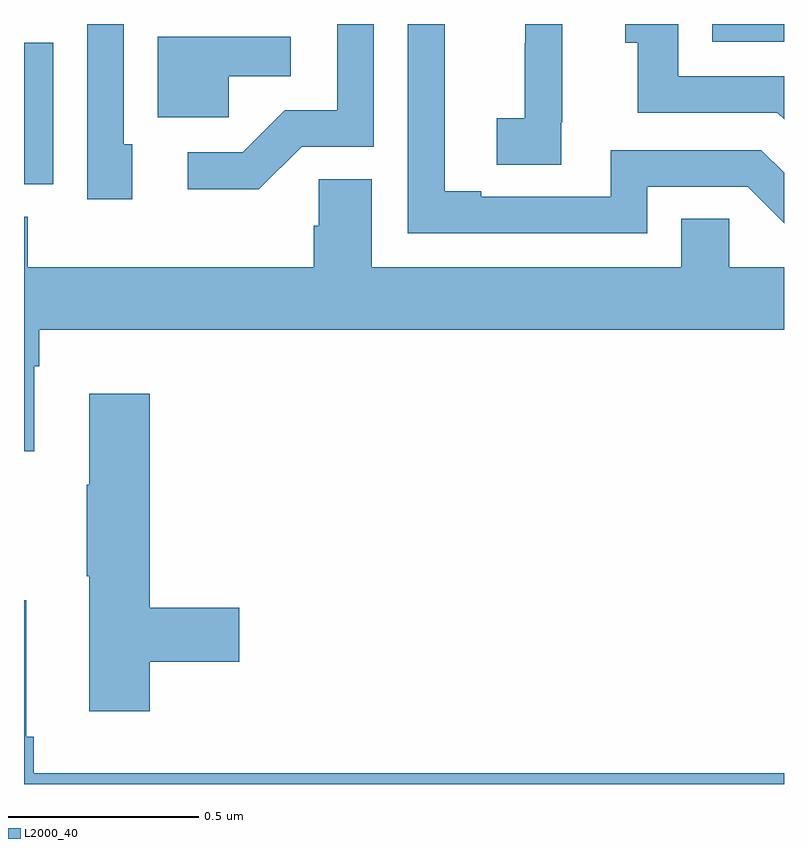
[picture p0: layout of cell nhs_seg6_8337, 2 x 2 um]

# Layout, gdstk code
import gdstk
lib = gdstk.Library(unit=1e-6, precision=1e-09)
def R(c, l, rs):  # rectangles x0, y0, x1, y1
    for r in rs: c.add(gdstk.rectangle(r[:2], r[2:], *l))
def P(c, l, *ps):  # polygons
    for p in ps: c.add(gdstk.Polygon(p, *l))
L2000_40 = (2000, 40)

nhs_seg6_8337 = lib.new_cell('nhs_seg6_8337')
R(nhs_seg6_8337, L2000_40, [(220,921.078,220.077,921.451), (221.811,921.453,222,921.5)])
P(nhs_seg6_8337, L2000_40, [(220.731,921.177),(220.92,921.177),(220.92,921.5),(220.824,921.5),(220.824,921.273),(220.686,921.273),(220.575,921.162),(220.431,921.162),(220.431,921.065),(220.618,921.065)],
  [(222,921.363),(221.722,921.363),(221.722,921.5),(221.582,921.5),(221.582,921.451),(221.615,921.451),(221.615,921.267),(221.982,921.267),(222,921.249)],
  [(220.285,921.183),(220.263,921.183),(220.263,921.5),(220.167,921.5),(220.167,921.039),(220.285,921.039)],
  [(221.64,921.072),(221.904,921.072),(222,920.976),(222,921.108),(221.94,921.168),(221.544,921.168),(221.544,921.045),(221.203,921.045),(221.203,921.06),(221.107,921.06),(221.107,921.5),(221.01,921.5),(221.01,920.949),(221.64,920.949)],
  [(221.414,921.241),(221.416,921.241),(221.416,921.5),(221.319,921.5),(221.319,921.449),(221.318,921.449),(221.318,921.252),(221.244,921.252),(221.244,921.13),(221.414,921.13)],
  [(220.539,921.362),(220.702,921.362),(220.702,921.466),(220.352,921.466),(220.352,921.255),(220.539,921.255)],
  [(220.027,920.6),(220.04,920.6),(220.04,920.696),(222,920.696),(222,920.86),(221.856,920.86),(221.856,920.987),(221.729,920.987),(221.729,920.86),(220.915,920.86),(220.915,921.092),(220.776,921.092),(220.776,920.969),(220.763,920.969),(220.763,920.86),(220.01,920.86),(220.01,920.993),(220,920.993),(220,920.376),(220.027,920.376)],
  [(220.331,919.822),(220.567,919.822),(220.567,919.964),(220.331,919.964),(220.331,920.527),(220.172,920.527),(220.172,920.288),(220.165,920.288),(220.165,920.047),(220.172,920.047),(220.172,919.692),(220.331,919.692)],
  [(222,919.528),(220.025,919.528),(220.025,919.624),(220.006,919.624),(220.006,919.984),(220,919.984),(220,919.5),(222,919.5)])

lib.write_gds('nhs_seg6_8337.gds')
